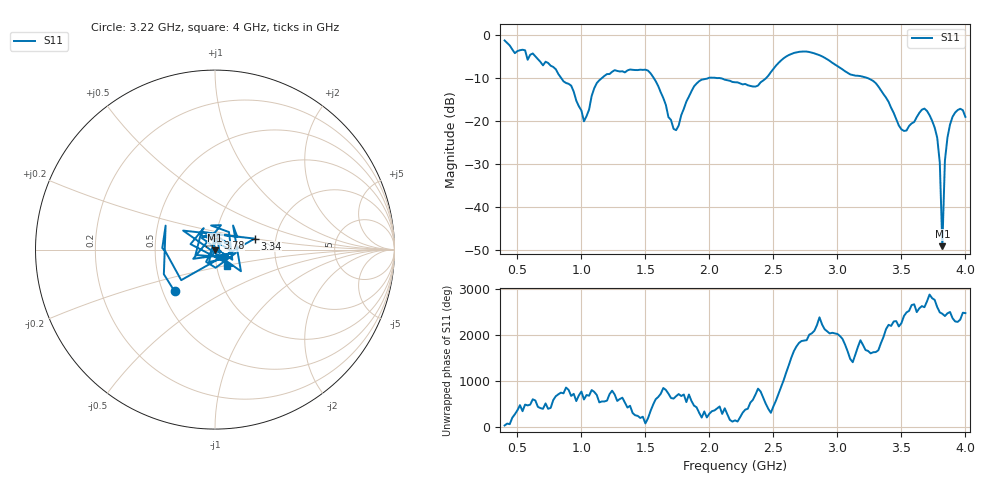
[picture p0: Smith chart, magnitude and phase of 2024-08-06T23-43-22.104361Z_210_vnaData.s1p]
!Created with skrf (http://scikit-rf.org).
# Hz S RI R 50.0
!freq ReS11 ImS11
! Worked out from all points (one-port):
!   181 points, 400 MHz to 4 GHz, reference 50 ohm
!   lowest |S11| = -49.1 dB at 3.82 GHz (marker M1), VSWR 1.01, Z = 50.1 - j0.322 ohm
!   |S11| at or under -10 dB: 1.566 GHz to 1.988 GHz (421.6 MHz wide, 23.7 % of centre); 2.089 GHz to 2.442 GHz (352.8 MHz wide, 15.6 % of centre); 3.24 GHz to end of sweep (the widest 3 of 4)
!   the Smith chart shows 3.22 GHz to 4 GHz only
!   S11 on the Smith chart (normalised r, x): 3.22 GHz: 0.58, -0.30; 3.34 GHz: 1.55, +0.20; 3.78 GHz: 1.02, +0.13; 4 GHz: 1.13, -0.20
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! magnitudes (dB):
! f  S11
! 400 MHz  -1.2
! 740 MHz  -6.4
! 860 MHz  -10.7
! 920 MHz  -11.7
! 1.02 GHz  -20.0
! 1.12 GHz  -11.1
! 1.3 GHz  -8.4
! 1.52 GHz  -8.2
! 1.6 GHz  -11.8
! 1.72 GHz  -21.8
! 1.76 GHz  -21.0
! 1.92 GHz  -10.7
! 2.2 GHz  -10.9
! 2.38 GHz  -11.7
! 2.66 GHz  -4.1
! 3.1 GHz  -9.1
! 3.22 GHz  -9.8
! 3.34 GHz  -12.8
! 3.5 GHz  -21.9
! 3.56 GHz  -21.1
! 3.68 GHz  -17.1
! 3.78 GHz  -23.9
! 3.8 GHz  -29.7
! 3.82 GHz  -49.1
! 3.84 GHz  -29.2
! 3.86 GHz  -23.8
! 3.92 GHz  -18.0
! 4 GHz  -19.0
